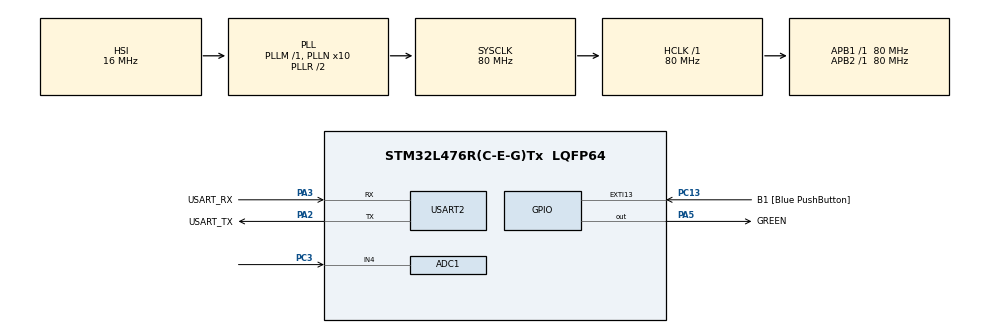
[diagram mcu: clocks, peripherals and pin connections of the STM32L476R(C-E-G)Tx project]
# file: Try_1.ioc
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ADC1.Channel-4\#ChannelRegularConversion=ADC_CHANNEL_4
ADC1.NbrOfConversionFlag=1
ADC1.OffsetNumber-4\#ChannelRegularConversion=ADC_OFFSET_NONE
ADC1.Rank-4\#ChannelRegularConversion=1
ADC1.SamplingTime-4\#ChannelRegularConversion=ADC_SAMPLETIME_24CYCLES_5
ADC1.master=1
Mcu.Family=STM32L4
Mcu.Name=STM32L476R(C-E-G)Tx
Mcu.Package=LQFP64
NVIC.ADC1_2_IRQn=true\:0\:0\:false\:false\:true\:true\:true
NVIC.PriorityGroup=NVIC_PRIORITYGROUP_4
NVIC.TIM1_UP_TIM16_IRQn=true\:0\:0\:false\:false\:true\:true\:true
PA13\ (JTMS-SWDIO).GPIO_Label=TMS
PA13\ (JTMS-SWDIO).Mode=Serial_Wire
PA13\ (JTMS-SWDIO).Signal=SYS_JTMS-SWDIO
PA14\ (JTCK-SWCLK).GPIO_Label=TCK
PA14\ (JTCK-SWCLK).Mode=Serial_Wire
PA14\ (JTCK-SWCLK).Signal=SYS_JTCK-SWCLK
PA2.GPIO_Label=USART_TX
PA2.GPIO_Mode=GPIO_MODE_AF_PP
PA2.GPIO_PuPd=GPIO_NOPULL
PA2.GPIO_Speed=GPIO_SPEED_FREQ_VERY_HIGH
PA2.Mode=Asynchronous
PA2.Signal=USART2_TX
PA3.GPIO_Label=USART_RX
PA3.GPIO_Mode=GPIO_MODE_AF_PP
PA3.GPIO_PuPd=GPIO_NOPULL
PA3.GPIO_Speed=GPIO_SPEED_FREQ_VERY_HIGH
PA3.Mode=Asynchronous
PA3.Signal=USART2_RX
PA5.GPIO_Label=GREEN
PA5.GPIO_ModeDefaultOutputPP=GPIO_MODE_OUTPUT_PP
PA5.GPIO_PuPd=GPIO_PULLUP
PA5.GPIO_Speed=GPIO_SPEED_FREQ_HIGH
PA5.PinState=GPIO_PIN_SET
PA5.Signal=GPIO_Output
PB3\ (JTDO-TRACESWO).GPIO_Label=SWO
PB3\ (JTDO-TRACESWO).Signal=SYS_JTDO-SWO
PC13.GPIO_Label=B1 [Blue PushButton]
PC13.GPIO_ModeDefaultEXTI=GPIO_MODE_IT_FALLING
PC13.GPIO_PuPd=GPIO_NOPULL
PC13.Signal=GPXTI13
PC14-OSC32_IN\ (PC14).Mode=LSE-External-Oscillator
PC14-OSC32_IN\ (PC14).Signal=RCC_OSC32_IN
PC15-OSC32_OUT\ (PC15).Mode=LSE-External-Oscillator
PC15-OSC32_OUT\ (PC15).Signal=RCC_OSC32_OUT
PC2.Signal=ADCx_IN3
PC3.Signal=ADCx_IN4
PH0-OSC_IN\ (PH0).Mode=HSE-External-Oscillator
PH0-OSC_IN\ (PH0).Signal=RCC_OSC_IN
PH1-OSC_OUT\ (PH1).Mode=HSE-External-Oscillator
PH1-OSC_OUT\ (PH1).Signal=RCC_OSC_OUT
ProjectManager.HeapSize=0x200
ProjectManager.StackSize=0x400
ProjectManager.TargetToolchain=STM32CubeIDE
RCC.ADCFreq_Value=64000000
RCC.AHBFreq_Value=80000000
RCC.APB1Freq_Value=80000000
RCC.APB1TimFreq_Value=80000000
RCC.APB2Freq_Value=80000000
RCC.APB2TimFreq_Value=80000000
RCC.CortexFreq_Value=80000000
RCC.HCLKFreq_Value=80000000
RCC.HSE_VALUE=8000000
RCC.HSI_VALUE=16000000
RCC.MSI_VALUE=4000000
RCC.PLLN=10
RCC.PLLSourceVirtual=RCC_PLLSOURCE_HSI
RCC.PREFETCH_ENABLE=1
RCC.SYSCLKFreq_VALUE=80000000
RCC.SYSCLKSource=RCC_SYSCLKSOURCE_PLLCLK
RCC.USBFreq_Value=64000000
RCC.VCOOutputFreq_Value=160000000
SH.ADCx_IN3.0=ADC1_IN3
SH.ADCx_IN4.0=ADC1_IN4,IN4-Single-Ended
TIM16.Period=100-1
TIM16.Prescaler=80-1
USART2.OneBitSampling=UART_ONE_BIT_SAMPLE_ENABLE
USART2.VirtualMode-Asynchronous=VM_ASYNC
VP_TIM16_VS_ClockSourceINT.Mode=Enable_Timer
board=NUCLEO-L476RG

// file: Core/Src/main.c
/* USER CODE BEGIN Header */
/**
  ******************************************************************************
  * @file           : main.c
  * @brief          : Main program body
  ******************************************************************************
  * @attention
  *
  * <h2><center>&copy; Copyright (c) 2021 STMicroelectronics.
  * All rights reserved.</center></h2>
  *
  * This software component is licensed by ST under BSD 3-Clause license,
  * the "License"; You may not use this file except in compliance with the
  * License. You may obtain a copy of the License at:
  *                        opensource.org/licenses/BSD-3-Clause
  *
  ******************************************************************************
  */
/* USER CODE END Header */
#include "main.h"
#include "adc.h"
#include "tim.h"
#include "usart.h"
#include "gpio.h"

/* USER CODE BEGIN Includes */
#include "stdio.h"
float adc_List[2049];
int x = 0;
#include "arm_math.h"
#include "Fourier.h"
/* USER CODE END Includes */

void SystemClock_Config(void);

/* USER CODE BEGIN 0 */
#ifdef __GNUC__
#define PUTCHAR_PROTOTYPE int __io_putchar(int ch)
#else
#define PUTCHAR_PROTOTYPE int fputc(int ch, FILE *f)
#endif
PUTCHAR_PROTOTYPE
{
    HAL_UART_Transmit(&huart2 , (uint8_t *)&ch, 1, 0xFFFF);
    return ch;
}
/* USER CODE END 0 */

int main(void)
{

  /* MCU Configuration--------------------------------------------------------*/

  /* Reset of all peripherals, Initializes the Flash interface and the Systick. */
  HAL_Init();

  /* Configure the system clock */
  SystemClock_Config();

  /* Initialize all configured peripherals */
  MX_GPIO_Init();
  MX_USART2_UART_Init();
  MX_ADC1_Init();
  MX_TIM16_Init();
  /* USER CODE BEGIN 2 */
  HAL_TIM_Base_Start_IT(&htim16);
  /* USER CODE END 2 */

  /* Infinite loop */
  while (1)
  {

  }
}

void SystemClock_Config(void)
{
  RCC_OscInitTypeDef RCC_OscInitStruct = {0};
  RCC_ClkInitTypeDef RCC_ClkInitStruct = {0};

  /** Configure the main internal regulator output voltage
  */
  if (HAL_PWREx_ControlVoltageScaling(PWR_REGULATOR_VOLTAGE_SCALE1) != HAL_OK)
  {
    Error_Handler();
  }
  /** Initializes the RCC Oscillators according to the specified parameters
  * in the RCC_OscInitTypeDef structure.
  */
  RCC_OscInitStruct.OscillatorType = RCC_OSCILLATORTYPE_HSI;
  RCC_OscInitStruct.HSIState = RCC_HSI_ON;
  RCC_OscInitStruct.HSICalibrationValue = RCC_HSICALIBRATION_DEFAULT;
  RCC_OscInitStruct.PLL.PLLState = RCC_PLL_ON;
  RCC_OscInitStruct.PLL.PLLSource = RCC_PLLSOURCE_HSI;
  RCC_OscInitStruct.PLL.PLLM = 1;
  RCC_OscInitStruct.PLL.PLLN = 10;
  RCC_OscInitStruct.PLL.PLLP = RCC_PLLP_DIV7;
  RCC_OscInitStruct.PLL.PLLQ = RCC_PLLQ_DIV2;
  RCC_OscInitStruct.PLL.PLLR = RCC_PLLR_DIV2;
  if (HAL_RCC_OscConfig(&RCC_OscInitStruct) != HAL_OK)
  {
    Error_Handler();
  }
  /** Initializes the CPU, AHB and APB buses clocks
  */
  RCC_ClkInitStruct.ClockType = RCC_CLOCKTYPE_HCLK|RCC_CLOCKTYPE_SYSCLK
                              |RCC_CLOCKTYPE_PCLK1|RCC_CLOCKTYPE_PCLK2;
  RCC_ClkInitStruct.SYSCLKSource = RCC_SYSCLKSOURCE_PLLCLK;
  RCC_ClkInitStruct.AHBCLKDivider = RCC_SYSCLK_DIV1;
  RCC_ClkInitStruct.APB1CLKDivider = RCC_HCLK_DIV1;
  RCC_ClkInitStruct.APB2CLKDivider = RCC_HCLK_DIV1;

  if (HAL_RCC_ClockConfig(&RCC_ClkInitStruct, FLASH_LATENCY_4) != HAL_OK)
  {
    Error_Handler();
  }
}

/* USER CODE BEGIN 4 */
void HAL_TIM_PeriodElapsedCallback(TIM_HandleTypeDef *htim){
	if (htim == &htim16){
		adc_List[x] = get_adc_value();
		x=x+1;
		float Velocity;
		if (x>2048){
			//for (int i=0;i<2048;i++){
				//  printf("\n%f",adc_List[i]);
				//}
			Velocity = Fourier_Function(adc_List);
			printf("\nVelocity: %f",Velocity);
			x = 0;
		}
		//}
		//printf("%d---%d\n",x,adc_List[x]);
		//HAL_GPIO_TogglePin(GPIOA, GPIO_PIN_5);
	}
}

/* USER CODE END 4 */

void Error_Handler(void)
{
  __disable_irq();
  while (1)
  {
  }
}

/************************ (C) COPYRIGHT STMicroelectronics *****END OF FILE****/
